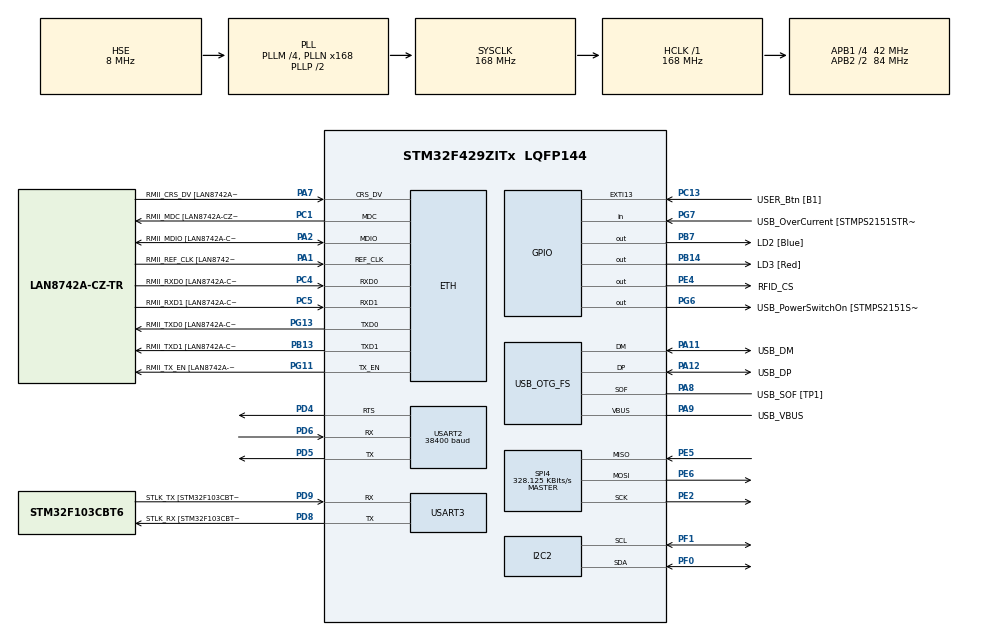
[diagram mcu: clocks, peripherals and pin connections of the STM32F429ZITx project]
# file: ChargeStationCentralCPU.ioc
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Dma.I2C2_RX.0.Direction=DMA_PERIPH_TO_MEMORY
Dma.I2C2_RX.0.FIFOMode=DMA_FIFOMODE_DISABLE
Dma.I2C2_RX.0.Instance=DMA1_Stream2
Dma.I2C2_RX.0.MemDataAlignment=DMA_MDATAALIGN_BYTE
Dma.I2C2_RX.0.MemInc=DMA_MINC_ENABLE
Dma.I2C2_RX.0.Mode=DMA_NORMAL
Dma.I2C2_RX.0.PeriphDataAlignment=DMA_PDATAALIGN_BYTE
Dma.I2C2_RX.0.PeriphInc=DMA_PINC_DISABLE
Dma.I2C2_RX.0.Priority=DMA_PRIORITY_LOW
Dma.I2C2_TX.1.Direction=DMA_MEMORY_TO_PERIPH
Dma.I2C2_TX.1.FIFOMode=DMA_FIFOMODE_DISABLE
Dma.I2C2_TX.1.Instance=DMA1_Stream7
Dma.I2C2_TX.1.MemDataAlignment=DMA_MDATAALIGN_BYTE
Dma.I2C2_TX.1.MemInc=DMA_MINC_ENABLE
Dma.I2C2_TX.1.Mode=DMA_NORMAL
Dma.I2C2_TX.1.PeriphDataAlignment=DMA_PDATAALIGN_BYTE
Dma.I2C2_TX.1.PeriphInc=DMA_PINC_DISABLE
Dma.I2C2_TX.1.Priority=DMA_PRIORITY_LOW
Dma.Request0=I2C2_RX
Dma.Request1=I2C2_TX
Dma.Request2=USART2_TX
Dma.USART2_TX.2.Direction=DMA_MEMORY_TO_PERIPH
Dma.USART2_TX.2.FIFOMode=DMA_FIFOMODE_DISABLE
Dma.USART2_TX.2.Instance=DMA1_Stream6
Dma.USART2_TX.2.MemDataAlignment=DMA_MDATAALIGN_BYTE
Dma.USART2_TX.2.MemInc=DMA_MINC_ENABLE
Dma.USART2_TX.2.Mode=DMA_NORMAL
Dma.USART2_TX.2.PeriphDataAlignment=DMA_PDATAALIGN_BYTE
Dma.USART2_TX.2.PeriphInc=DMA_PINC_DISABLE
Dma.USART2_TX.2.Priority=DMA_PRIORITY_LOW
ETH.MediaInterface=ETH_MEDIA_INTERFACE_RMII
ETH.PHY_Name=LAN8742A_PHY_ADDRESS
ETH.PHY_Value=0
ETH.PhyAddress=0
FREERTOS.INCLUDE_vTaskDelayUntil=1
FREERTOS.Tasks01=defaultTask,0,128,StartDefaultTask,Default,NULL
FREERTOS.configMINIMAL_STACK_SIZE=96
FREERTOS.configTOTAL_HEAP_SIZE=32768
LWIP.GATEWAY_ADDRESS=192.168.001.254
LWIP.IP_ADDRESS=192.168.001.202
LWIP.LWIP_DHCP=1
LWIP.NETMASK_ADDRESS=255.255.255.000
LWIP.Version=v2.0.3_Cube
Mcu.Family=STM32F4
Mcu.Name=STM32F429ZITx
Mcu.Package=LQFP144
NVIC.DMA1_Stream2_IRQn=true\:5\:0\:false\:false\:true\:true\:false
NVIC.DMA1_Stream6_IRQn=true\:5\:0\:false\:false\:true\:true\:false
NVIC.DMA1_Stream7_IRQn=true\:5\:0\:false\:false\:true\:true\:false
NVIC.ETH_IRQn=true\:5\:0\:false\:false\:true\:true\:false
NVIC.EXTI15_10_IRQn=true\:5\:0\:false\:false\:true\:true\:true
NVIC.I2C2_ER_IRQn=true\:5\:0\:false\:false\:true\:true\:true
NVIC.I2C2_EV_IRQn=true\:5\:0\:false\:false\:true\:true\:true
NVIC.OTG_FS_IRQn=true\:5\:0\:false\:false\:true\:true\:false
NVIC.PriorityGroup=NVIC_PRIORITYGROUP_4
PA1.GPIO_Label=RMII_REF_CLK [LAN8742A-CZ-TR_REFCLK0]
PA1.Mode=RMII
PA1.Signal=ETH_REF_CLK
PA10.GPIO_Label=USB_ID
PA10.Signal=USB_OTG_FS_ID
PA11.GPIO_Label=USB_DM
PA11.Mode=Device_Only
PA11.Signal=USB_OTG_FS_DM
PA12.GPIO_Label=USB_DP
PA12.Mode=Device_Only
PA12.Signal=USB_OTG_FS_DP
PA13.GPIO_Label=TMS
PA13.Mode=Serial_Wire
PA13.Signal=SYS_JTMS-SWDIO
PA14.GPIO_Label=TCK
PA14.Mode=Serial_Wire
PA14.Signal=SYS_JTCK-SWCLK
PA2.GPIO_Label=RMII_MDIO [LAN8742A-CZ-TR_MDIO]
PA2.Mode=RMII
PA2.Signal=ETH_MDIO
PA7.GPIO_Label=RMII_CRS_DV [LAN8742A-CZ-TR_CRS_DV]
PA7.Mode=RMII
PA7.Signal=ETH_CRS_DV
PA8.GPIO_Label=USB_SOF [TP1]
PA8.Mode=Activate_SOF_FS
PA8.Signal=USB_OTG_FS_SOF
PA9.GPIO_Label=USB_VBUS
PA9.Mode=Activate_VBUS
PA9.Signal=USB_OTG_FS_VBUS
PB13.GPIO_Label=RMII_TXD1 [LAN8742A-CZ-TR_TXD1]
PB13.Mode=RMII
PB13.Signal=ETH_TXD1
PB14.GPIO_Label=LD3 [Red]
PB14.Signal=GPIO_Output
PB7.GPIO_Label=LD2 [Blue]
PB7.Signal=GPIO_Output
PC1.GPIO_Label=RMII_MDC [LAN8742A-CZ-TR_MDC]
PC1.Mode=RMII
PC1.Signal=ETH_MDC
PC13.GPIO_Label=USER_Btn [B1]
PC13.Signal=GPXTI13
PC14/OSC32_IN.Mode=LSE-External-Oscillator
PC14/OSC32_IN.Signal=RCC_OSC32_IN
PC15/OSC32_OUT.Mode=LSE-External-Oscillator
PC15/OSC32_OUT.Signal=RCC_OSC32_OUT
PC4.GPIO_Label=RMII_RXD0 [LAN8742A-CZ-TR_RXD0]
PC4.Mode=RMII
PC4.Signal=ETH_RXD0
PC5.GPIO_Label=RMII_RXD1 [LAN8742A-CZ-TR_RXD1]
PC5.Mode=RMII
PC5.Signal=ETH_RXD1
PD4.Mode=RTS_Only
PD4.Signal=USART2_RTS
PD5.Mode=Asynchronous
PD5.Signal=USART2_TX
PD6.Mode=Asynchronous
PD6.Signal=USART2_RX
PD8.GPIO_Label=STLK_RX [STM32F103CBT6_PA3]
PD8.Mode=Asynchronous
PD8.Signal=USART3_TX
PD9.GPIO_Label=STLK_TX [STM32F103CBT6_PA2]
PD9.Mode=Asynchronous
PD9.Signal=USART3_RX
PE2.Mode=Full_Duplex_Master
PE2.Signal=SPI4_SCK
PE4.GPIO_Label=RFID_CS
PE4.Signal=GPIO_Output
PE5.Mode=Full_Duplex_Master
PE5.Signal=SPI4_MISO
PE6.Mode=Full_Duplex_Master
PE6.Signal=SPI4_MOSI
PF0.Mode=I2C
PF0.Signal=I2C2_SDA
PF1.Mode=I2C
PF1.Signal=I2C2_SCL
PG11.GPIO_Label=RMII_TX_EN [LAN8742A-CZ-TR_TXEN]
PG11.Mode=RMII
PG11.Signal=ETH_TX_EN
PG13.GPIO_Label=RMII_TXD0 [LAN8742A-CZ-TR_TXD0]
PG13.Mode=RMII
PG13.Signal=ETH_TXD0
PG6.GPIO_Label=USB_PowerSwitchOn [STMPS2151STR_EN]
PG6.Signal=GPIO_Output
PG7.GPIO_Label=USB_OverCurrent [STMPS2151STR_FAULT]
PG7.Signal=GPIO_Input
PH0/OSC_IN.GPIO_Label=MCO [STM32F103CBT6_PA8]
PH0/OSC_IN.Mode=HSE-External-Clock-Source
PH0/OSC_IN.Signal=RCC_OSC_IN
PH1/OSC_OUT.Mode=HSE-External-Clock-Source
PH1/OSC_OUT.Signal=RCC_OSC_OUT
ProjectManager.HeapSize=0x2000
ProjectManager.StackSize=0x4000
ProjectManager.TargetToolchain=MDK-ARM V5
RCC.48MHZClocksFreq_Value=48000000
RCC.AHBFreq_Value=168000000
RCC.APB1CLKDivider=RCC_HCLK_DIV4
RCC.APB1Freq_Value=42000000
RCC.APB1TimFreq_Value=84000000
RCC.APB2CLKDivider=RCC_HCLK_DIV2
RCC.APB2Freq_Value=84000000
RCC.APB2TimCLKDivider=1
RCC.APB2TimFreq_Value=84000000
RCC.CortexFreq_Value=168000000
RCC.HCLKFreq_Value=168000000
RCC.HSE_VALUE=8000000
RCC.HSI_VALUE=16000000
RCC.PLLM=4
RCC.PLLMUL=RCC_PLL_MUL9
RCC.PLLN=168
RCC.PLLQ=7
RCC.PRESCALERUSB=RCC_USBCLKSOURCE_PLL_DIV1_5
RCC.SYSCLKFreq_VALUE=168000000
RCC.SYSCLKSource=RCC_SYSCLKSOURCE_PLLCLK
RCC.SYSCLKSourceVirtual=RCC_SYSCLKSOURCE_PLLCLK
RCC.USBFreq_Value=48000000
RCC.VCOOutputFreq_Value=336000000
SPI4.BaudRatePrescaler=SPI_BAUDRATEPRESCALER_256
SPI4.CalculateBaudRate=328.125 KBits/s
SPI4.Direction=SPI_DIRECTION_2LINES
SPI4.Mode=SPI_MODE_MASTER
SPI4.VirtualType=VM_MASTER
USART2.BaudRate=38400
USART2.VirtualMode=VM_ASYNC
USART3.VirtualMode=VM_ASYNC
USB_DEVICE.CLASS_NAME_FS=CDC
USB_DEVICE.MANUFACTURER_STRING-CDC_FS=Kvant
USB_DEVICE.PRODUCT_STRING_CDC_FS=ChargeStation ComPort
USB_DEVICE.VID-CDC_FS=48858
USB_DEVICE.VirtualMode-CDC_FS=Cdc
USB_DEVICE.VirtualModeFS=Cdc_FS
USB_OTG_FS.VirtualMode=Device_Only
VP_FREERTOS_VS_ENABLE.Mode=Enabled
VP_LWIP_VS_Enabled.Mode=Enabled
VP_RNG_VS_RNG.Mode=RNG_Activate
VP_RTC_VS_RTC_Activate.Mode=RTC_Enabled
VP_RTC_VS_RTC_Calendar.Mode=RTC_Calendar
VP_USB_DEVICE_VS_USB_DEVICE_CDC_FS.Mode=CDC_FS
board=NUCLEO-F429ZI

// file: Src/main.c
/**
  ******************************************************************************
  * @file           : main.c
  * @brief          : Main program body
  ******************************************************************************
  * This notice applies to any and all portions of this file
  * that are not between comment pairs USER CODE BEGIN and
  * USER CODE END. Other portions of this file, whether
  * inserted by the user or by software development tools
  * are owned by their respective copyright owners.
  *
  * Copyright (c) 2018 STMicroelectronics International N.V.
  * All rights reserved.
  *
  * Redistribution and use in source and binary forms, with or without
  * modification, are permitted, provided that the following conditions are met:
  *
  * 1. Redistribution of source code must retain the above copyright notice,
  *    this list of conditions and the following disclaimer.
  * 2. Redistributions in binary form must reproduce the above copyright notice,
  *    this list of conditions and the following disclaimer in the documentation
  *    and/or other materials provided with the distribution.
  * 3. Neither the name of STMicroelectronics nor the names of other
  *    contributors to this software may be used to endorse or promote products
  *    derived from this software without specific written permission.
  * 4. This software, including modifications and/or derivative works of this
  *    software, must execute solely and exclusively on microcontroller or
  *    microprocessor devices manufactured by or for STMicroelectronics.
  * 5. Redistribution and use of this software other than as permitted under
  *    this license is void and will automatically terminate your rights under
  *    this license.
  *
  * THIS SOFTWARE IS PROVIDED BY STMICROELECTRONICS AND CONTRIBUTORS "AS IS"
  * AND ANY EXPRESS, IMPLIED OR STATUTORY WARRANTIES, INCLUDING, BUT NOT
  * LIMITED TO, THE IMPLIED WARRANTIES OF MERCHANTABILITY, FITNESS FOR A
  * PARTICULAR PURPOSE AND NON-INFRINGEMENT OF THIRD PARTY INTELLECTUAL PROPERTY
  * RIGHTS ARE DISCLAIMED TO THE FULLEST EXTENT PERMITTED BY LAW. IN NO EVENT
  * SHALL STMICROELECTRONICS OR CONTRIBUTORS BE LIABLE FOR ANY DIRECT, INDIRECT,
  * INCIDENTAL, SPECIAL, EXEMPLARY, OR CONSEQUENTIAL DAMAGES (INCLUDING, BUT NOT
  * LIMITED TO, PROCUREMENT OF SUBSTITUTE GOODS OR SERVICES; LOSS OF USE, DATA,
  * OR PROFITS; OR BUSINESS INTERRUPTION) HOWEVER CAUSED AND ON ANY THEORY OF
  * LIABILITY, WHETHER IN CONTRACT, STRICT LIABILITY, OR TORT (INCLUDING
  * NEGLIGENCE OR OTHERWISE) ARISING IN ANY WAY OUT OF THE USE OF THIS SOFTWARE,
  * EVEN IF ADVISED OF THE POSSIBILITY OF SUCH DAMAGE.
  *
  ******************************************************************************
  */
#include "main.h"
#include "stm32f4xx_hal.h"
#include "cmsis_os.h"
#include "lwip.h"
#include "usb_device.h"

/* USER CODE BEGIN Includes */

#include "display.h"
#include "RFID.h"
#include "rc522.h"
#include "channel.h"
#include "tasks.h"
//#include "usbd_cdc_if.h"
#include "settings.h"
#include "rng.h"
#include "serial_control.h"
#include "chargePointTime.h"
#include "net.h"
#include "netConn.h"
#include "ocpp.h"
#include "ocppConfiguration.h"
#include "ocppConfigurationDef.h"
#include "connector.h"
#include "chargePoint.h"
#include "indication.h"
#include "localAuthList.h"
#include "chargePointState.h"

/* USER CODE END Includes */

I2C_HandleTypeDef hi2c2;
DMA_HandleTypeDef hdma_i2c2_rx;
DMA_HandleTypeDef hdma_i2c2_tx;

RNG_HandleTypeDef hrng;

RTC_HandleTypeDef hrtc;

SPI_HandleTypeDef hspi4;

UART_HandleTypeDef huart2;
UART_HandleTypeDef huart3;
DMA_HandleTypeDef hdma_usart2_tx;

osThreadId defaultTaskHandle;

/* USER CODE BEGIN PV */
/* Private variables ---------------------------------------------------------*/

QueueHandle_t mainQueue;
uint8_t str[16];
uint32_t lastUserButtonPressTick = 0;
ChargePointSetting *settings;
bool isNeedSetTime = true;
idToken lastCheckedTagId;
uint32_t lastCheckedTagTick = 0;

OcppConfigurationVaried ocppConfVaried;
OcppConfigurationFixed ocppConfFixed;
OcppConfigurationRestrict ocppConfRestrict;
ChargePointConnector connector[CONFIGURATION_NUMBER_OF_CONNECTORS];

bool remoteStartTransactionProcessing = false;

/* USER CODE END PV */

void SystemClock_Config(void);
static void MX_GPIO_Init(void);
static void MX_DMA_Init(void);
static void MX_USART3_UART_Init(void);
static void MX_I2C2_Init(void);
static void MX_SPI4_Init(void);
static void MX_USART2_UART_Init(void);
static void MX_RNG_Init(void);
static void MX_RTC_Init(void);
void StartDefaultTask(void const * argument);

/* USER CODE BEGIN PFP */
#define PACK_TO_PARAM_BYTE0(param, value) param |= (value & 0xFF)
#define PACK_TO_PARAM_BYTE1(param, value) param |= ((value & 0xFF) << 8)
#define PACK_TO_PARAM_BYTE2(param, value) param |= ((value & 0xFF) << 16)
#define PACK_TO_PARAM_BYTE3(param, value) param |= ((value & 0xFF) << 24)

/* USER CODE END PFP */

#define CAP_CARD_DECLINED "CARD DECLINED"
#define CAP_CARD_ACCEPTED "CARD ACCEPTED"
#define MES_NO_CONNECTION "NO CONNECTION"

/* USER CODE BEGIN 0 */

void initDisplay(){
	Display_init(&hi2c2);

	Display_PrintStrCenter(0, "Starting\0");
	Display_PrintStrCenter(1, "Hardware checking\0");
}

void initConnectors(){
	int i;
	for(i = 0; i < CONFIGURATION_NUMBER_OF_CONNECTORS; i++){
		connector[i].id = i + 1;
		connector[i].address = i + 1;
		connector[i].status = CHARGE_POINT_STATUS_UNKNOWN;
		connector[i].online = false;
		connector[i].meterValue = 0;
		connector[i].isMeterValueSet = false;
		connector[i].isMeterValueRequest = true;
		connector[i].pilotSygnalLevel = PILOT_SYGNAL_LEVEL_F;
		connector[i].pilotSygnalPwm = PILOT_SYGNAL_PWM_UNKNOWN;
		connector[i].noAnswerCnt = 0;

		connector[i].chargeTransaction.isActive = false;
		connector[i].chargeTransaction.isClosed = true;
		connector[i].chargeTransaction.stopReason = -1;
	}
}

void checkHardware(){

	//Init RFID
	RFID_init(&hspi4);
	if(!(RFID_check_connection())){
		Display_PrintStrLeft(1, "ERROR: NO RFID\0");
		ChargePoint_setRFIDEnabled(false);
	}

	//Init connector

	Channel_init(&huart2);
}

/* USER CODE END 0 */

int main(void)
{

  /* MCU Configuration----------------------------------------------------------*/

  /* Reset of all peripherals, Initializes the Flash interface and the Systick. */
  HAL_Init();

  /* Configure the system clock */
  SystemClock_Config();

  /* Initialize all configured peripherals */
  MX_GPIO_Init();
  MX_DMA_Init();
  MX_USART3_UART_Init();
  MX_I2C2_Init();
  MX_SPI4_Init();
  MX_USART2_UART_Init();
  MX_RNG_Init();
  MX_RTC_Init();
  /* USER CODE BEGIN 2 */

	printf("Start ChargeStationCentralCPU\n");

  /* USER CODE END 2 */

  /* USER CODE BEGIN RTOS_MUTEX */

  mainQueue = xQueueCreate(32, sizeof(GeneralMessage));

  /* USER CODE END RTOS_MUTEX */

  /* Create the thread(s) */
  /* definition and creation of defaultTask */
  osThreadDef(defaultTask, StartDefaultTask, osPriorityNormal, 0, 128);
  defaultTaskHandle = osThreadCreate(osThread(defaultTask), NULL);

  /* Start scheduler */
  osKernelStart();

  /* We should never get here as control is now taken by the scheduler */

  /* Infinite loop */
  while (1)
  {

  }

}

void SystemClock_Config(void)
{

  RCC_OscInitTypeDef RCC_OscInitStruct;
  RCC_ClkInitTypeDef RCC_ClkInitStruct;
  RCC_PeriphCLKInitTypeDef PeriphClkInitStruct;

    /**Configure the main internal regulator output voltage
    */
  __HAL_RCC_PWR_CLK_ENABLE();

  __HAL_PWR_VOLTAGESCALING_CONFIG(PWR_REGULATOR_VOLTAGE_SCALE1);

    /**Initializes the CPU, AHB and APB busses clocks
    */
  RCC_OscInitStruct.OscillatorType = RCC_OSCILLATORTYPE_LSI|RCC_OSCILLATORTYPE_HSE;
  RCC_OscInitStruct.HSEState = RCC_HSE_BYPASS;
  RCC_OscInitStruct.LSIState = RCC_LSI_ON;
  RCC_OscInitStruct.PLL.PLLState = RCC_PLL_ON;
  RCC_OscInitStruct.PLL.PLLSource = RCC_PLLSOURCE_HSE;
  RCC_OscInitStruct.PLL.PLLM = 4;
  RCC_OscInitStruct.PLL.PLLN = 168;
  RCC_OscInitStruct.PLL.PLLP = RCC_PLLP_DIV2;
  RCC_OscInitStruct.PLL.PLLQ = 7;
  if (HAL_RCC_OscConfig(&RCC_OscInitStruct) != HAL_OK)
  {
    _Error_Handler(__FILE__, __LINE__);
  }

    /**Initializes the CPU, AHB and APB busses clocks
    */
  RCC_ClkInitStruct.ClockType = RCC_CLOCKTYPE_HCLK|RCC_CLOCKTYPE_SYSCLK
                              |RCC_CLOCKTYPE_PCLK1|RCC_CLOCKTYPE_PCLK2;
  RCC_ClkInitStruct.SYSCLKSource = RCC_SYSCLKSOURCE_PLLCLK;
  RCC_ClkInitStruct.AHBCLKDivider = RCC_SYSCLK_DIV1;
  RCC_ClkInitStruct.APB1CLKDivider = RCC_HCLK_DIV4;
  RCC_ClkInitStruct.APB2CLKDivider = RCC_HCLK_DIV2;

  if (HAL_RCC_ClockConfig(&RCC_ClkInitStruct, FLASH_LATENCY_5) != HAL_OK)
  {
    _Error_Handler(__FILE__, __LINE__);
  }

  PeriphClkInitStruct.PeriphClockSelection = RCC_PERIPHCLK_RTC;
  PeriphClkInitStruct.RTCClockSelection = RCC_RTCCLKSOURCE_LSI;
  if (HAL_RCCEx_PeriphCLKConfig(&PeriphClkInitStruct) != HAL_OK)
  {
    _Error_Handler(__FILE__, __LINE__);
  }

    /**Configure the Systick interrupt time
    */
  HAL_SYSTICK_Config(HAL_RCC_GetHCLKFreq()/1000);

    /**Configure the Systick
    */
  HAL_SYSTICK_CLKSourceConfig(SYSTICK_CLKSOURCE_HCLK);

  /* SysTick_IRQn interrupt configuration */
  HAL_NVIC_SetPriority(SysTick_IRQn, 15, 0);
}

/* I2C2 init function */
static void MX_I2C2_Init(void)
{

  hi2c2.Instance = I2C2;
  hi2c2.Init.ClockSpeed = 100000;
  hi2c2.Init.DutyCycle = I2C_DUTYCYCLE_2;
  hi2c2.Init.OwnAddress1 = 0;
  hi2c2.Init.AddressingMode = I2C_ADDRESSINGMODE_7BIT;
  hi2c2.Init.DualAddressMode = I2C_DUALADDRESS_DISABLE;
  hi2c2.Init.OwnAddress2 = 0;
  hi2c2.Init.GeneralCallMode = I2C_GENERALCALL_DISABLE;
  hi2c2.Init.NoStretchMode = I2C_NOSTRETCH_DISABLE;
  if (HAL_I2C_Init(&hi2c2) != HAL_OK)
  {
    _Error_Handler(__FILE__, __LINE__);
  }

}

/* RNG init function */
static void MX_RNG_Init(void)
{

  hrng.Instance = RNG;
  if (HAL_RNG_Init(&hrng) != HAL_OK)
  {
    _Error_Handler(__FILE__, __LINE__);
  }

}

/* RTC init function */
static void MX_RTC_Init(void)
{

  RTC_TimeTypeDef sTime;
  RTC_DateTypeDef sDate;

    /**Initialize RTC Only
    */
  hrtc.Instance = RTC;
if(HAL_RTCEx_BKUPRead(&hrtc, RTC_BKP_DR0) != 0x32F2){
  hrtc.Init.HourFormat = RTC_HOURFORMAT_24;
  hrtc.Init.AsynchPrediv = 127;
  hrtc.Init.SynchPrediv = 255;
  hrtc.Init.OutPut = RTC_OUTPUT_DISABLE;
  hrtc.Init.OutPutPolarity = RTC_OUTPUT_POLARITY_HIGH;
  hrtc.Init.OutPutType = RTC_OUTPUT_TYPE_OPENDRAIN;
  if (HAL_RTC_Init(&hrtc) != HAL_OK)
  {
    _Error_Handler(__FILE__, __LINE__);
  }

    /**Initialize RTC and set the Time and Date
    */
  sTime.Hours = 0x0;
  sTime.Minutes = 0x0;
  sTime.Seconds = 0x0;
  sTime.DayLightSaving = RTC_DAYLIGHTSAVING_NONE;
  sTime.StoreOperation = RTC_STOREOPERATION_RESET;
  if (HAL_RTC_SetTime(&hrtc, &sTime, RTC_FORMAT_BCD) != HAL_OK)
  {
    _Error_Handler(__FILE__, __LINE__);
  }

  sDate.WeekDay = RTC_WEEKDAY_MONDAY;
  sDate.Month = RTC_MONTH_JANUARY;
  sDate.Date = 0x1;
  sDate.Year = 0x0;

  if (HAL_RTC_SetDate(&hrtc, &sDate, RTC_FORMAT_BCD) != HAL_OK)
  {
    _Error_Handler(__FILE__, __LINE__);
  }

    HAL_RTCEx_BKUPWrite(&hrtc,RTC_BKP_DR0,0x32F2);
  }

}

/* SPI4 init function */
static void MX_SPI4_Init(void)
{

  /* SPI4 parameter configuration*/
  hspi4.Instance = SPI4;
  hspi4.Init.Mode = SPI_MODE_MASTER;
  hspi4.Init.Direction = SPI_DIRECTION_2LINES;
  hspi4.Init.DataSize = SPI_DATASIZE_8BIT;
  hspi4.Init.CLKPolarity = SPI_POLARITY_LOW;
  hspi4.Init.CLKPhase = SPI_PHASE_1EDGE;
  hspi4.Init.NSS = SPI_NSS_SOFT;
  hspi4.Init.BaudRatePrescaler = SPI_BAUDRATEPRESCALER_256;
  hspi4.Init.FirstBit = SPI_FIRSTBIT_MSB;
  hspi4.Init.TIMode = SPI_TIMODE_DISABLE;
  hspi4.Init.CRCCalculation = SPI_CRCCALCULATION_DISABLE;
  hspi4.Init.CRCPolynomial = 10;
  if (HAL_SPI_Init(&hspi4) != HAL_OK)
  {
    _Error_Handler(__FILE__, __LINE__);
  }

}

/* USART2 init function */
static void MX_USART2_UART_Init(void)
{

  huart2.Instance = USART2;
  huart2.Init.BaudRate = 38400;
  huart2.Init.WordLength = UART_WORDLENGTH_8B;
  huart2.Init.StopBits = UART_STOPBITS_1;
  huart2.Init.Parity = UART_PARITY_NONE;
  huart2.Init.Mode = UART_MODE_TX_RX;
  huart2.Init.HwFlowCtl = UART_HWCONTROL_NONE;
  huart2.Init.OverSampling = UART_OVERSAMPLING_16;
  if (HAL_UART_Init(&huart2) != HAL_OK)
  {
    _Error_Handler(__FILE__, __LINE__);
  }

}

/* USART3 init function */
static void MX_USART3_UART_Init(void)
{

  huart3.Instance = USART3;
  huart3.Init.BaudRate = 115200;
  huart3.Init.WordLength = UART_WORDLENGTH_8B;
  huart3.Init.StopBits = UART_STOPBITS_1;
  huart3.Init.Parity = UART_PARITY_NONE;
  huart3.Init.Mode = UART_MODE_TX_RX;
  huart3.Init.HwFlowCtl = UART_HWCONTROL_NONE;
  huart3.Init.OverSampling = UART_OVERSAMPLING_16;
  if (HAL_UART_Init(&huart3) != HAL_OK)
  {
    _Error_Handler(__FILE__, __LINE__);
  }

}

static void MX_DMA_Init(void)
{
  /* DMA controller clock enable */
  __HAL_RCC_DMA1_CLK_ENABLE();

  /* DMA interrupt init */
  /* DMA1_Stream2_IRQn interrupt configuration */
  HAL_NVIC_SetPriority(DMA1_Stream2_IRQn, 5, 0);
  HAL_NVIC_EnableIRQ(DMA1_Stream2_IRQn);
  /* DMA1_Stream6_IRQn interrupt configuration */
  HAL_NVIC_SetPriority(DMA1_Stream6_IRQn, 5, 0);
  HAL_NVIC_EnableIRQ(DMA1_Stream6_IRQn);
  /* DMA1_Stream7_IRQn interrupt configuration */
  HAL_NVIC_SetPriority(DMA1_Stream7_IRQn, 5, 0);
  HAL_NVIC_EnableIRQ(DMA1_Stream7_IRQn);

}

/** Configure pins as
        * Analog
        * Input
        * Output
        * EVENT_OUT
        * EXTI
*/
static void MX_GPIO_Init(void)
{

  GPIO_InitTypeDef GPIO_InitStruct;

  /* GPIO Ports Clock Enable */
  __HAL_RCC_GPIOE_CLK_ENABLE();
  __HAL_RCC_GPIOC_CLK_ENABLE();
  __HAL_RCC_GPIOF_CLK_ENABLE();
  __HAL_RCC_GPIOH_CLK_ENABLE();
  __HAL_RCC_GPIOA_CLK_ENABLE();
  __HAL_RCC_GPIOB_CLK_ENABLE();
  __HAL_RCC_GPIOD_CLK_ENABLE();
  __HAL_RCC_GPIOG_CLK_ENABLE();

  /*Configure GPIO pin Output Level */
  HAL_GPIO_WritePin(RFID_CS_GPIO_Port, RFID_CS_Pin, GPIO_PIN_RESET);

  /*Configure GPIO pin Output Level */
  HAL_GPIO_WritePin(GPIOB, LD3_Pin|LD2_Pin, GPIO_PIN_RESET);

  /*Configure GPIO pin Output Level */
  HAL_GPIO_WritePin(USB_PowerSwitchOn_GPIO_Port, USB_PowerSwitchOn_Pin, GPIO_PIN_RESET);

  /*Configure GPIO pin : RFID_CS_Pin */
  GPIO_InitStruct.Pin = RFID_CS_Pin;
  GPIO_InitStruct.Mode = GPIO_MODE_OUTPUT_PP;
  GPIO_InitStruct.Pull = GPIO_NOPULL;
  GPIO_InitStruct.Speed = GPIO_SPEED_FREQ_LOW;
  HAL_GPIO_Init(RFID_CS_GPIO_Port, &GPIO_InitStruct);

  /*Configure GPIO pin : USER_Btn_Pin */
  GPIO_InitStruct.Pin = USER_Btn_Pin;
  GPIO_InitStruct.Mode = GPIO_MODE_IT_RISING;
  GPIO_InitStruct.Pull = GPIO_NOPULL;
  HAL_GPIO_Init(USER_Btn_GPIO_Port, &GPIO_InitStruct);

  /*Configure GPIO pins : LD3_Pin LD2_Pin */
  GPIO_InitStruct.Pin = LD3_Pin|LD2_Pin;
  GPIO_InitStruct.Mode = GPIO_MODE_OUTPUT_PP;
  GPIO_InitStruct.Pull = GPIO_NOPULL;
  GPIO_InitStruct.Speed = GPIO_SPEED_FREQ_LOW;
  HAL_GPIO_Init(GPIOB, &GPIO_InitStruct);

  /*Configure GPIO pin : USB_PowerSwitchOn_Pin */
  GPIO_InitStruct.Pin = USB_PowerSwitchOn_Pin;
  GPIO_InitStruct.Mode = GPIO_MODE_OUTPUT_PP;
  GPIO_InitStruct.Pull = GPIO_NOPULL;
  GPIO_InitStruct.Speed = GPIO_SPEED_FREQ_LOW;
  HAL_GPIO_Init(USB_PowerSwitchOn_GPIO_Port, &GPIO_InitStruct);

  /*Configure GPIO pin : USB_OverCurrent_Pin */
  GPIO_InitStruct.Pin = USB_OverCurrent_Pin;
  GPIO_InitStruct.Mode = GPIO_MODE_INPUT;
  GPIO_InitStruct.Pull = GPIO_NOPULL;
  HAL_GPIO_Init(USB_OverCurrent_GPIO_Port, &GPIO_InitStruct);

  /* EXTI interrupt init*/
  HAL_NVIC_SetPriority(EXTI15_10_IRQn, 5, 0);
  HAL_NVIC_EnableIRQ(EXTI15_10_IRQn);

}

/* USER CODE BEGIN 4 */

void toggleBlueLed(void){
	HAL_GPIO_TogglePin(LD2_GPIO_Port, LD2_Pin);
}

bool checkChargeTransactionByTag(idToken tagId){
	int i;
	char s[32];
	ChargePointConnector *conn;
	//Check if someony with this tag is charging
	for(i = 0; i < CONFIGURATION_NUMBER_OF_CONNECTORS; i++){
		conn = &connector[i];
		if(strncmp(conn->userTagId, tagId, ID_TOKEN_SIZE) == 0){
			if(conn->status != CHARGE_POINT_STATUS_FINISHING){
				sprintf(s, "Channel %d", i+1);
				Indication_ShowMessage("Finish charging", s, 2000);
				conn->chargeTransaction.stopReason = OCPP_REASON_LOCAL;
				Channel_haltCharging(i);
			}
			return true;
		}
	}

	return false;
}

bool checkTagInLocalAuthList(idToken tagId){
	AuthorizationData *data;
	data = localAuthList_getDataByTag(tagId);
	if(data == NULL)
		return false;
	return (data->idTagInfo.status == AUTHORIZATION_STATUS_ACCEPTED);
}

void startChargeTransaction(idToken tagId, int connectorId){
	ChargePointConnector *conn;
	NetInputMessage netMessage;
	int i, iStart, iEnd;
	if(connectorId == -1){
		iStart = 0;
		iEnd = CONFIGURATION_NUMBER_OF_CONNECTORS;
	}
	else{
		iStart = connectorId;
		iEnd = iStart + 1;
	}

	for(i = iStart; i < iEnd; i++){
		conn = &connector[i];
		if(conn->status == CHARGE_POINT_STATUS_PREPARING){

			strcpy(conn->userTagId, tagId);
			conn->chargeTransaction.startMeterValue = conn->meterValue;
	    conn->chargeTransaction.isActive = true;
	    conn->chargeTransaction.isClosed = false;

			if(cpState_isServerOnline()){
				netMessage.messageId = NET_INPUT_MESSAGE_START_TRANSACTION;
				netMessage.param1 = (int)conn;
				NET_sendInputMessage(&netMessage);
			}

	    Channel_startCharging(i);

			return;
		}
	}
}

void stopChargeTransaction(int channel){
	ChargePointConnector *conn;
	NetInputMessage netMessage;

	conn = &connector[channel];
	conn->chargeTransaction.isClosed = true;
	conn->chargeTransaction.stopMeterValue = conn->meterValue;

	netMessage.messageId = NET_INPUT_MESSAGE_STOP_TRANSACTION;
	netMessage.param1 = (int)conn;
	NET_sendInputMessage(&netMessage);
}

void sendUnlockConnectorAnswer(int status, int uniqIdIndex){
	NetInputMessage netMessage;
	netMessage.messageId = NET_INPUT_MESSAGE_UNLOCK_CONNECTOR_ANSWER;
	netMessage.param1 = status;
	netMessage.uniqIdIndex = uniqIdIndex;
	NET_sendInputMessage(&netMessage);
}

void acceptAuth(idToken tagId, bool success){
	char s[32];
	sprintf(s, "Authorize %s", success ? "SUCCESS" : "FAILED");
	printf("%s\n", s);
	Indication_ShowMessage(s, NULL, 5000);

	if(success){
		startChargeTransaction(tagId, -1);
	}
}

void makeReboot(void){
	HAL_NVIC_SystemReset();
}

void processChannelFullCycleNotify(int reason){
	if(reason == FULL_CYCLE_NOTIFY_REASON_REBOOT){
		makeReboot();
	}
}

void processEnabledTag(idToken cardId){
	NetInputMessage netMessage;
	char s[32];
	bool needNetworkCheck = false;

	printf("CardId %s\n", cardId);

	if((strncmp(cardId, lastCheckedTagId, ID_TOKEN_SIZE) == 0) && ((HAL_GetTick() - lastCheckedTagTick) < 5000))
		return;
	strcpy(lastCheckedTagId, cardId);
	lastCheckedTagTick = HAL_GetTick();

	sprintf(s, "CardId %s", cardId);
	Indication_ShowMessage("Card discovered", s, 5000);

	if(checkChargeTransactionByTag(cardId))
		return;

	if(cpState_isServerOnline()){
		if(ocppConfVaried.localPreAuthorize){
			if(!checkTagInLocalAuthList(cardId))
				needNetworkCheck = true;
		}
		else{
			needNetworkCheck = true;
		}
	}
	else{
		if((!ocppConfVaried.localAuthorizeOffline) || (!checkTagInLocalAuthList(cardId)) ){
				Indication_ShowMessage(CAP_CARD_DECLINED, MES_NO_CONNECTION, 5000);
				return;
		}
	}

	if(needNetworkCheck){
		netMessage.messageId = NET_INPUT_MESSAGE_AUTHORIZE;
		strcpy(netMessage.tagId, cardId);
		NET_sendInputMessage(&netMessage);
	}
	else{
		// Just start charging
		startChargeTransaction(cardId, -1);
		Indication_ShowMessage(CAP_CARD_ACCEPTED, NULL, 5000);
	}
}

void sendRemoteStartTransactionAnswer(int status, int uniqIdIndex){
	NetInputMessage netMessage;
	netMessage.messageId = NET_INPUT_MESSAGE_REMOTE_START_TRANSACTION_ANSWER;
	netMessage.param1 = status;
	netMessage.uniqIdIndex = uniqIdIndex;
	NET_sendInputMessage(&netMessage);
}

void sendRemoteStopTransactionAnswer(int status, int uniqIdIndex){
	NetInputMessage netMessage;
	netMessage.messageId = NET_INPUT_MESSAGE_REMOTE_STOP_TRANSACTION_ANSWER;
	netMessage.param1 = status;
	netMessage.uniqIdIndex = uniqIdIndex;
	NET_sendInputMessage(&netMessage);
}

void sendChangeAvailabilityAnswer(int status, int uniqIdIndex){
	NetInputMessage netMessage;
	netMessage.messageId = NET_INPUT_MESSAGE_CHANGE_AVAILABILITY;
	netMessage.param1 = status;
	netMessage.uniqIdIndex = uniqIdIndex;
	NET_sendInputMessage(&netMessage);
}

void sendClearCacheAnswer(int status, int uniqIdIndex){
	NetInputMessage netMessage;
	netMessage.messageId = NET_INPUT_MESSAGE_CLEAR_CACHE;
	netMessage.param1 = status;
	netMessage.uniqIdIndex = uniqIdIndex;
	NET_sendInputMessage(&netMessage);
}

void remoteStartTransaction(GeneralMessage *message){
	bool authRemoteTxRequests;
	int uniqIdIndex;
	int connectorId;
	idToken idTag;

	connectorId = message->param1;
	uniqIdIndex = message->param2;

	if(remoteStartTransactionProcessing || (connectorId < 0) || (connectorId > CONFIGURATION_NUMBER_OF_CONNECTORS)) {
		//Previous operation is not processed yet or invalid connector Id
		//reject new operation
		sendRemoteStartTransactionAnswer(REMOTE_STARTSTOP_STATUS_REJECTED, uniqIdIndex);
		return;
	}

	authRemoteTxRequests = ocppConfRestrict.authorizeRemoteTxRequestsReadOnly ? ocppConfFixed.authorizeRemoteTxRequests:  ocppConfVaried.authorizeRemoteTxRequests;
	if(authRemoteTxRequests){

	}

	strcpy(idTag, message->tokenId);
	sendRemoteStartTransactionAnswer(REMOTE_STARTSTOP_STATUS_ACCEPTED, uniqIdIndex);
	startChargeTransaction(idTag, connectorId - 1);
}

void remoteStopTransaction(GeneralMessage *message){
	int uniqIdIndex;
	int transactionId;
	bool taIsFound;
	ChargePointConnector *conn;
	int i;

	transactionId = message->param1;
	uniqIdIndex = message->param2;

	taIsFound = false;
	for(i = 0; i < CONFIGURATION_NUMBER_OF_CONNECTORS; i++){
		conn = &connector[i];
		if((conn->chargeTransaction.id == transactionId) && conn->chargeTransaction.isActive){
			taIsFound = true;
			break;
		}
	}

	if(taIsFound){
		sendRemoteStopTransactionAnswer(REMOTE_STARTSTOP_STATUS_ACCEPTED, uniqIdIndex);
		Indication_ShowMessage("Remote finish", "of charging", 2000);
		conn->chargeTransaction.stopReason = OCPP_REASON_REMOTE;
		Channel_haltCharging(i);
		//stopChargeTransaction(i);
	}
	else{
		sendRemoteStopTransactionAnswer(REMOTE_STARTSTOP_STATUS_REJECTED, uniqIdIndex);
	}
}

void remoteReset(GeneralMessage *message){
	int resetType;
	int i;
	ChargePointConnector *conn;

	resetType = message->param1;

	/*if(resetType == RESET_TYPE_HARD){
		resetStatus = OCPP_RESET_STATUS_ACCEPTED;
	}*/

	for(i = 0; i < CONFIGURATION_NUMBER_OF_CONNECTORS; i++){
		conn = &connector[i];
		conn->isNeedReset = true;
	}

	Channel_requestFullCycleNotify(FULL_CYCLE_NOTIFY_REASON_REBOOT);

	//makeReboot();
}

void changeAvalability(GeneralMessage *message){
	int availType;
	int connId;
	int uniqIdIndex;

	availType = message->param1 & 0xFF;
	connId = (message->param1 >> 8) & 0xFF;
	uniqIdIndex = message->param2;

	sendChangeAvailabilityAnswer(OCPP_AVAILABILITY_STATUS_REJECTED, uniqIdIndex);
}

void clearAuthCache(GeneralMessage *message){
	int uniqIdIndex;
	int status;

	uniqIdIndex = message->param2;

	status = OCPP_CLEAR_CACHE_STATUS_REJECTED;
	sendClearCacheAnswer(status, uniqIdIndex);
}

void processMessageFromNET(GeneralMessage *message){
	NetInputMessage netMessage;
	printf("Main task. Message from NET is got\n");
	char s[32];
	switch(message->messageId){
		case MESSAGE_NET_SERVER_ACCEPT:
			sprintf(s, "Station %s", message->param1 ? "ACCEPTED" : "REJECTED");
		  Indication_ShowMessage(s, NULL, 5000);

		  if(NET_is_station_accepted()){
				//When station is accepted. It is need to send charge point status to server
				netMessage.messageId = NET_INPUT_MESSAGE_SEND_CHARGE_POINT_STATUS;
				NET_sendInputMessage(&netMessage);
			}
			cpState_setServerOnline(NET_is_station_accepted());
			break;
		case MESSAGE_NET_AUTHORIZE:
			acceptAuth(message->tokenId, message->param1);
			break;
		case MESSAGE_NET_UNLOCK_CONNECTOR:
			Channel_unlockConnector(message->param1 - 1, message->param2);
			break;
		case MESSAGE_NET_REMOTE_START_TRANSACTION:
			remoteStartTransaction(message);
			break;
		case MESSAGE_NET_REMOTE_STOP_TRANSACTION:
			remoteStopTransaction(message);
			break;
		case MESSAGE_NET_RESET:
			remoteReset(message);
			break;
		case MESSAGE_NET_CHANGE_AVAILABILITY:
			changeAvalability(message);
			break;
		case MESSAGE_NET_CLEAR_CACHE:
			clearAuthCache(message);
			break;
	}
}

void onChannelStatusChanged(ChargePointConnector *conn){
	NetInputMessage netMessage;

	//If connection with server is present it is need to send new status
	if(NET_is_station_accepted()){
		netMessage.messageId = NET_INPUT_MESSAGE_SEND_CONNECTOR_STATUS;
		netMessage.param1 = 0;
		PACK_TO_PARAM_BYTE0(netMessage.param1, conn->id);
		PACK_TO_PARAM_BYTE1(netMessage.param1, conn->status);
		PACK_TO_PARAM_BYTE2(netMessage.param1, CHARGE_POINT_ERROR_CODE_NO_ERROR);
		NET_sendInputMessage(&netMessage);
	}

	switch(conn->status){
		case CHARGE_POINT_STATUS_AVAILABLE:
			strcpy(conn->userTagId, "");
      strcpy(lastCheckedTagId, "");
			break;
		case CHARGE_POINT_STATUS_CHARGING:
			strcpy(lastCheckedTagId, "");
			break;
		case CHARGE_POINT_STATUS_SUSPENDED_EV:
			conn->isMeterValueRequest = true;
			break;
	}
	Indication_PrintChannel(conn->id - 1, conn);
}

void finishUnlockConnector(GeneralMessage *message){
	int uniqIdIndex;
	int status;
	ChargePointConnector *conn;

	conn = (ChargePointConnector*)message->param1;
	uniqIdIndex = conn->uniqMesIndUnlockConnector;

	status = conn->isLocked ? UNLOCK_STATUS_UNLOCK_FAILED : UNLOCK_STATUS_UNLOCKED;

	sendUnlockConnectorAnswer(status, uniqIdIndex);

	if((!conn->isLocked) && conn->chargeTransaction.isActive){
		//It is need to close transaction
		conn->status = CHARGE_POINT_STATUS_FINISHING;
		conn->isMeterValueRequest = true; //Need request meterValue for close transaction
		conn->chargeTransaction.stopReason = OCPP_REASON_UNLOCK_COMMAND;
		conn->chargeTransaction.isActive = false;
		onChannelStatusChanged(conn);
	}
}

void processMessageFromChannels(GeneralMessage *message){
	int connIndex;
	ChargePointConnector *conn;

	switch(message->messageId){
		case MESSAGE_CHANNEL_STATUS_CHANGED:
			connIndex = message->param1;
		  conn = &connector[connIndex];
			onChannelStatusChanged(conn);
			break;
		case MESSAGE_CHANNEL_CHARGING_HALTED:
			connIndex = message->param1;
		  conn = &connector[connIndex];
		  conn->status = CHARGE_POINT_STATUS_FINISHING;
		  conn->isMeterValueRequest = true; //Need request meterValue for close transaction
		  conn->chargeTransaction.isActive = false;
		  onChannelStatusChanged(conn);
			break;
		case MESSAGE_CHANNEL_GET_METER_VALUE:
			connIndex = message->param1;
		  conn = &connector[connIndex];
		  if(conn->chargeTransaction.isActive){
				//Need update screen
				Indication_PrintChannel(conn->id - 1, conn);
			}
			else{
				if(!conn->chargeTransaction.isClosed){
					//CloseTransaction
					stopChargeTransaction(connIndex);
				}
			}
			break;
		case MESSAGE_CHANNEL_UNLOCK_CONNECTOR:
			finishUnlockConnector(message);
			break;
		case MESSAGE_CHANNEL_FULL_CYCLE_NOTIFY:
			processChannelFullCycleNotify(message->param1);
			break;
	}
}

void processMessageFromRFID(GeneralMessage *message){

	NetInputMessage netMessage;
	idToken tagId;

	printf("Main task. Message from RFID is got\n");
	switch(message->messageId){
		case MESSAGE_RFID_FOUND_CARD:
			sprintf(tagId, "%.8X", message->param1);
			processEnabledTag(tagId);
			break;
		case MESSAGE_RFID_CONNECTION:
			if(message->param1){
				//Connected
				ChargePoint_setRFIDEnabled(true);
			}
			else{
				//Disconnected
				ChargePoint_setRFIDEnabled(false);
			}
			netMessage.messageId = NET_INPUT_MESSAGE_SEND_CHARGE_POINT_STATUS;
			NET_sendInputMessage(&netMessage);
			break;
	}
}

void processMessageFromSerialControl(GeneralMessage *message){
	printf("Main task. Message from SerialControl is got\n");
	ChargePointSetting* st;
	switch(message->messageId){
		case MESSAGE_SER_CONTROL_SET_LOCAL_IP:
			NET_changeLocalIp();
			break;
		case MESSAGE_SER_CONTROL_SET_SERVER_HOST:
			st = Settings_get();
			NET_CONN_setRemoteHost(st->serverHost);
			break;
		case MESSAGE_SER_CONTROL_SET_SERVER_PORT:
			st = Settings_get();
			NET_CONN_setRemotePort(st->serverPort);
			break;
	}
}

void testSaveSetting(){
	printf("testSaveSetting\n");
	sprintf(settings->ChargePointId, "SaveCP_%.8X", generateRnd32());
	printf("New ChargePointID: %s\n", settings->ChargePointId);
	if(Settings_save())
		printf("Setting saving is success\n");
	else
		printf("Setting saving is failed\n");
}

void testReconnect(){
	NetInputMessage mes;
	mes.messageId = NET_INPUT_MESSAGE_RECONNECT;
	NET_sendInputMessage(&mes);
}

void printCurrentDateTime(){
	struct tm dt;

	if(isNeedSetTime){
		dt.tm_mday = 11;
		dt.tm_mon = 7;
		dt.tm_year = 2018;

		dt.tm_hour = 15;
		dt.tm_min = 41;
		dt.tm_sec = 39;

		setCurrentTime(&dt);

		isNeedSetTime = false;
	}
	else{
		getCurrentTime(&dt);
		printf("DateTime: %.2d.%.2d.%.4d %.2d:%.2d:%.2d\n", dt.tm_mday, dt.tm_mon, dt.tm_year, dt.tm_hour, dt.tm_min, dt.tm_sec);
	}
}

void updateMeterValues(void){
	int i;
	ChargePointConnector *conn;

	for(i = 0; i < CONFIGURATION_NUMBER_OF_CONNECTORS; i++){
			conn = &connector[i];
			if(conn->status == CHARGE_POINT_STATUS_CHARGING){
				conn->isMeterValueRequest = true;
			}
	}
}

void mainDispatcher(void){
	uint32_t currentTick, lastLedTick;
	uint32_t lastSendTick, lastMeterReqTick;
	char sendData[16];
	GeneralMessage message;
	uint32_t btnPressCnt = 0;

	ChargePoint_init();

	Settings_init();
	settings = Settings_get();
	printf("ChargePointID: %s\n", settings->ChargePointId);

	localAuthList_load();

	fillOcppConfigurationWithDefValues(&ocppConfVaried, &ocppConfFixed, &ocppConfRestrict);

	initDisplay();
	initConnectors();
	checkHardware();

	Display_clear();
	Indication_Init(connector);

	if(ChargePoint_getStatusState() != CHARGE_POINT_STATUS_FAULTED){
		ChargePoint_setStatusState(CHARGE_POINT_STATUS_AVAILABLE, 0, NULL);
	}

	Channel_start(TASK_TAG_CHANNELS, mainQueue, connector, CONFIGURATION_NUMBER_OF_CONNECTORS);

	RFID_start(TASK_TAG_RFID, mainQueue);
	SerialControl_start(TASK_TAG_SERIAL_CONTROL, mainQueue);
	NET_start(TASK_TAG_NET, mainQueue);

	Display_PrintStrCenter(0, "Waiting\0");

	lastLedTick = HAL_GetTick();
	lastSendTick = lastLedTick;
	lastMeterReqTick = lastLedTick;

	// Infinite loop
  for(;;)
  {

		while(xQueueReceive(mainQueue, &message, 0) == pdPASS){
			switch(message.sourceTag){
				case TASK_TAG_RFID:
					processMessageFromRFID(&message);
					break;
				case TASK_TAG_USER_BUTTON:
					//printf("User button is pressed %d\n", ++btnPressCnt);
				  //testSaveSetting();
				  //printCurrentDateTime();
				  NET_test();
				  //testReconnect();
					break;
				case TASK_TAG_SERIAL_CONTROL:
					processMessageFromSerialControl(&message);
					break;
				case TASK_TAG_NET:
					processMessageFromNET(&message);
					break;
				case TASK_TAG_CHANNELS:
					processMessageFromChannels(&message);
					break;
			}

		}

		currentTick = HAL_GetTick();
		if((currentTick - lastLedTick) >= 500){
			lastLedTick = currentTick;
			toggleBlueLed();
		}

		if((currentTick - lastSendTick) >= 1000){
			lastSendTick = currentTick;
			sprintf(sendData, "%.8X\r", lastSendTick);
			//CDC_Transmit_FS((uint8_t*)sendData, strlen(sendData));
		}

		//For channel with charging process need update meter value
		if((currentTick - lastMeterReqTick) >= 1000){
			lastMeterReqTick = currentTick;
			updateMeterValues();

		}

		Indication_CheckMessage();
		osDelay(1);
	}
}

void onUserButtonPressed(){
	GeneralMessage message;
	uint32_t tick;
	tick = HAL_GetTick();
	if((tick - lastUserButtonPressTick) >= 200){
		lastUserButtonPressTick = tick;
		message.sourceTag = TASK_TAG_USER_BUTTON;
		//This function is called from Interrupt so use ISR version of xQueueSend
		xQueueSendFromISR(mainQueue, &message, NULL);
	}

}

void HAL_GPIO_EXTI_Callback(uint16_t GPIO_Pin){
	switch(GPIO_Pin){
		case USER_Btn_Pin:
			onUserButtonPressed();
			break;
	}
}

/* USER CODE END 4 */

/* StartDefaultTask function */
void StartDefaultTask(void const * argument)
{
  /* init code for USB_DEVICE */
  MX_USB_DEVICE_Init();

  /* init code for LWIP */
  //MX_LWIP_Init();

  /* USER CODE BEGIN 5 */
	mainDispatcher();

  /* Infinite loop */
	/// !!! Сюда мы не должны доходить
  for(;;)
  {
		//RFID_check_connection();
		//HAL_Delay(100);
		/*if(MFRC522_Check(str) == MI_OK){
			printf("Found card 0x%.2X%.2X%.2X%.2X\n", str[0], str[1], str[2], str[3]);
			HAL_Delay(100);
		}*/

    osDelay(1);
  }
  /* USER CODE END 5 */
}

void _Error_Handler(char *file, int line)
{
  while(1)
  {
  }
}

/************************ (C) COPYRIGHT STMicroelectronics *****END OF FILE****/
